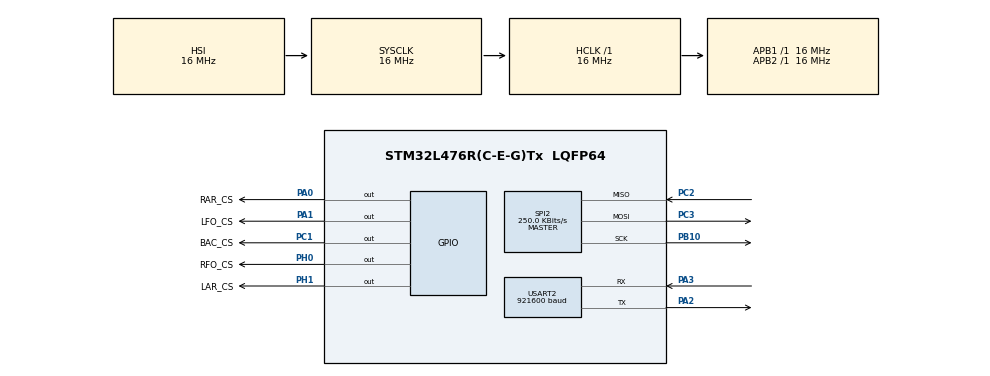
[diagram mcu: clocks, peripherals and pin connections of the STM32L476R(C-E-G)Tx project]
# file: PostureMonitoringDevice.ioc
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Dma.Request0=SPI2_RX
Dma.Request1=SPI2_TX
Dma.Request2=USART2_TX
Dma.SPI2_RX.0.Direction=DMA_PERIPH_TO_MEMORY
Dma.SPI2_RX.0.Instance=DMA1_Channel4
Dma.SPI2_RX.0.MemDataAlignment=DMA_MDATAALIGN_BYTE
Dma.SPI2_RX.0.MemInc=DMA_MINC_ENABLE
Dma.SPI2_RX.0.Mode=DMA_NORMAL
Dma.SPI2_RX.0.PeriphDataAlignment=DMA_PDATAALIGN_BYTE
Dma.SPI2_RX.0.PeriphInc=DMA_PINC_DISABLE
Dma.SPI2_RX.0.Priority=DMA_PRIORITY_LOW
Dma.SPI2_TX.1.Direction=DMA_MEMORY_TO_PERIPH
Dma.SPI2_TX.1.Instance=DMA1_Channel5
Dma.SPI2_TX.1.MemDataAlignment=DMA_MDATAALIGN_BYTE
Dma.SPI2_TX.1.MemInc=DMA_MINC_ENABLE
Dma.SPI2_TX.1.Mode=DMA_NORMAL
Dma.SPI2_TX.1.PeriphDataAlignment=DMA_PDATAALIGN_BYTE
Dma.SPI2_TX.1.PeriphInc=DMA_PINC_DISABLE
Dma.SPI2_TX.1.Priority=DMA_PRIORITY_LOW
Dma.USART2_TX.2.Direction=DMA_MEMORY_TO_PERIPH
Dma.USART2_TX.2.Instance=DMA1_Channel7
Dma.USART2_TX.2.MemDataAlignment=DMA_MDATAALIGN_BYTE
Dma.USART2_TX.2.MemInc=DMA_MINC_ENABLE
Dma.USART2_TX.2.Mode=DMA_NORMAL
Dma.USART2_TX.2.PeriphDataAlignment=DMA_PDATAALIGN_BYTE
Dma.USART2_TX.2.PeriphInc=DMA_PINC_DISABLE
Dma.USART2_TX.2.Priority=DMA_PRIORITY_LOW
Mcu.Family=STM32L4
Mcu.Name=STM32L476R(C-E-G)Tx
Mcu.Package=LQFP64
NVIC.DMA1_Channel4_IRQn=true\:2\:0\:true\:false\:true\:false\:true\:true
NVIC.DMA1_Channel5_IRQn=true\:2\:0\:true\:false\:true\:false\:true\:true
NVIC.DMA1_Channel7_IRQn=true\:2\:0\:true\:false\:true\:false\:true\:true
NVIC.PriorityGroup=NVIC_PRIORITYGROUP_4
NVIC.RTC_WKUP_IRQn=true\:0\:0\:false\:false\:true\:true\:true\:true
NVIC.USART2_IRQn=true\:2\:0\:true\:false\:true\:true\:true\:true
PA0.GPIO_Label=RAR_CS
PA0.GPIO_PuPd=GPIO_NOPULL
PA0.PinState=GPIO_PIN_SET
PA0.Signal=GPIO_Output
PA1.GPIO_Label=LFO_CS
PA1.GPIO_PuPd=GPIO_NOPULL
PA1.PinState=GPIO_PIN_SET
PA1.Signal=GPIO_Output
PA13\ (JTMS-SWDIO).GPIO_Label=TMS
PA13\ (JTMS-SWDIO).Mode=Serial_Wire
PA13\ (JTMS-SWDIO).Signal=SYS_JTMS-SWDIO
PA14\ (JTCK-SWCLK).GPIO_Label=TCK
PA14\ (JTCK-SWCLK).Mode=Serial_Wire
PA14\ (JTCK-SWCLK).Signal=SYS_JTCK-SWCLK
PA2.Mode=Asynchronous
PA2.Signal=USART2_TX
PA3.Mode=Asynchronous
PA3.Signal=USART2_RX
PB10.GPIO_PuPd=GPIO_NOPULL
PB10.GPIO_Speed=GPIO_SPEED_FREQ_LOW
PB10.Mode=Full_Duplex_Master
PB10.Signal=SPI2_SCK
PC1.GPIO_Label=BAC_CS
PC1.GPIO_PuPd=GPIO_NOPULL
PC1.PinState=GPIO_PIN_SET
PC1.Signal=GPIO_Output
PC14-OSC32_IN\ (PC14).Mode=LSE-External-Oscillator
PC14-OSC32_IN\ (PC14).Signal=RCC_OSC32_IN
PC15-OSC32_OUT\ (PC15).Mode=LSE-External-Oscillator
PC15-OSC32_OUT\ (PC15).Signal=RCC_OSC32_OUT
PC2.GPIO_PuPd=GPIO_PULLUP
PC2.GPIO_Speed=GPIO_SPEED_FREQ_LOW
PC2.Mode=Full_Duplex_Master
PC2.Signal=SPI2_MISO
PC3.GPIO_PuPd=GPIO_NOPULL
PC3.GPIO_Speed=GPIO_SPEED_FREQ_LOW
PC3.Mode=Full_Duplex_Master
PC3.Signal=SPI2_MOSI
PH0-OSC_IN\ (PH0).GPIO_Label=RFO_CS
PH0-OSC_IN\ (PH0).GPIO_PuPd=GPIO_NOPULL
PH0-OSC_IN\ (PH0).PinState=GPIO_PIN_SET
PH0-OSC_IN\ (PH0).Signal=GPIO_Output
PH1-OSC_OUT\ (PH1).GPIO_Label=LAR_CS
PH1-OSC_OUT\ (PH1).GPIO_PuPd=GPIO_NOPULL
PH1-OSC_OUT\ (PH1).PinState=GPIO_PIN_SET
PH1-OSC_OUT\ (PH1).Signal=GPIO_Output
ProjectManager.HeapSize=0x200
ProjectManager.StackSize=0x400
ProjectManager.TargetToolchain=STM32CubeIDE
RCC.ADCFreq_Value=64000000
RCC.AHBFreq_Value=16000000
RCC.APB1Freq_Value=16000000
RCC.APB1TimFreq_Value=16000000
RCC.APB2Freq_Value=16000000
RCC.APB2TimFreq_Value=16000000
RCC.CortexFreq_Value=16000000
RCC.HCLKFreq_Value=16000000
RCC.HSE_VALUE=8000000
RCC.HSI_VALUE=16000000
RCC.MSIClockRange=RCC_MSIRANGE_8
RCC.MSI_VALUE=16000000
RCC.PLLSourceVirtual=RCC_PLLSOURCE_HSI
RCC.RTCClockSelection=RCC_RTCCLKSOURCE_LSE
RCC.SYSCLKFreq_VALUE=16000000
RCC.SYSCLKSource=RCC_SYSCLKSOURCE_HSI
RCC.USBFreq_Value=64000000
RCC.VCOOutputFreq_Value=128000000
RTC.WakeUpCounter-WakeUp=42
SPI2.BaudRatePrescaler=SPI_BAUDRATEPRESCALER_64
SPI2.CLKPhase=SPI_PHASE_2EDGE
SPI2.CLKPolarity=SPI_POLARITY_HIGH
SPI2.CalculateBaudRate=250.0 KBits/s
SPI2.DataSize=SPI_DATASIZE_8BIT
SPI2.Direction=SPI_DIRECTION_2LINES
SPI2.Mode=SPI_MODE_MASTER
SPI2.VirtualType=VM_MASTER
USART2.BaudRate=921600
USART2.Mode=MODE_TX
USART2.VirtualMode-Asynchronous=VM_ASYNC
VP_RTC_VS_RTC_Activate.Mode=RTC_Enabled
VP_RTC_VS_RTC_WakeUp_intern.Mode=WakeUp
board=NUCLEO-L476RG

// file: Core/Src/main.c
/* USER CODE BEGIN Header */
/**
 ******************************************************************************
 * @file           : main.c
 * @brief          : Main program body
 ******************************************************************************
 * @attention
 *
 * Copyright (c) 2025 STMicroelectronics.
 * All rights reserved.
 *
 * This software is licensed under terms that can be found in the LICENSE file
 * in the root directory of this software component.
 * If no LICENSE file comes with this software, it is provided AS-IS.
 *
 ******************************************************************************
 */
/* USER CODE END Header */
#include "main.h"
#include "dma.h"
#include "gpio.h"
#include "rtc.h"
#include "spi.h"
#include "usart.h"

/* USER CODE BEGIN Includes */
#include "adxl345.h"
#include "cm53697pd.h"
#include "string.h"
/* USER CODE END Includes */

void SystemClock_Config(void);
/* USER CODE BEGIN PFP */
void HAL_UART_TxCpltCallback(UART_HandleTypeDef* huart);
void HAL_RTCEx_WakeUpTimerEventCallback(RTC_HandleTypeDef* hrtc);
/* USER CODE END PFP */

/* USER CODE BEGIN 0 */
ADXL345Interface* GetSTM32Interface(void);
static volatile uint8_t dmaStatus = 0;
static volatile uint8_t rtcStatus = 0;
void HAL_UART_TxCpltCallback(UART_HandleTypeDef* huart)
{
    if (huart == &huart2)
    {
        dmaStatus = 0;
    }
}
void HAL_RTCEx_WakeUpTimerEventCallback(RTC_HandleTypeDef* hrtc)
{
    rtcStatus = 1;
}
/* USER CODE END 0 */

int main(void)
{

    /* USER CODE BEGIN 1 */
    char buffer[100];

    for (int i = 0; i < 5; i++)
    {
        driverPtr[i].iface = GetSTM32Interface();
        driverPtr[i].device = devicesPtr[i];
        driverPtr[i].id = i;
    }

    /* USER CODE END 1 */

    /* MCU Configuration--------------------------------------------------------*/

    /* Reset of all peripherals, Initializes the Flash interface and the Systick.
     */
    HAL_Init();

    /* Configure the system clock */
    SystemClock_Config();

    /* Initialize all configured peripherals */
    MX_GPIO_Init();
    MX_DMA_Init();
    MX_SPI2_Init();
    MX_USART2_UART_Init();
    MX_RTC_Init();

    /* Infinite loop */
    /* USER CODE BEGIN WHILE */
    ADXL345_Status preConfiguration = ADXL345_OK;
    for (int i = 0; i < 5; i++)
    {
        preConfiguration = ADXL_SetMeasure(&driverPtr[i], ADXL345_RESET);

        if (preConfiguration == ADXL345_OK)
        {
            preConfiguration = ADXL_SetFullResolution(&driverPtr[i], ADXL345_SET);
        }

        if (preConfiguration == ADXL345_OK)
        {
            preConfiguration = ADXL_SetRange(&driverPtr[i], RANGE_16G);
        }

        if (preConfiguration == ADXL345_OK)
        {
            preConfiguration = ADXL_SetJustify(&driverPtr[i], ADXL345_RESET);
        }

        if (preConfiguration == ADXL345_OK)
        {
            preConfiguration = ADXL_SetMeasure(&driverPtr[i], ADXL345_SET);
        }

        if (preConfiguration != ADXL345_OK)
        {
            i--;
        }
    }
    (void)HAL_RTCEx_SetWakeUpTimer_IT(&hrtc, 42, RTC_WAKEUPCLOCK_RTCCLK_DIV16);
    while (1)
    {
        if (rtcStatus == 1)
        {
            rtcStatus = 0;

            if (dmaStatus == 0)
            {
                dmaStatus = 1;
                (void)ADXL_MultiReadDevice(&driverPtr[0]);
                (void)ADXL_MultiReadDevice(&driverPtr[1]);
                (void)ADXL_MultiReadDevice(&driverPtr[2]);
                (void)ADXL_MultiReadDevice(&driverPtr[3]);
                (void)ADXL_MultiReadDevice(&driverPtr[4]);
                (void)ADXL_RawData(devicesPtr, buffer, 100);
                (void)HAL_UART_Transmit_DMA(&huart2, (uint8_t*)buffer, strlen(buffer));
            }
            (void)HAL_PWR_EnterSLEEPMode(PWR_MAINREGULATOR_ON, PWR_SLEEPENTRY_WFI);
        }
        (void)HAL_PWR_EnterSLEEPMode(PWR_MAINREGULATOR_ON, PWR_SLEEPENTRY_WFI);
        /* USER CODE END WHILE */

    }
}

void SystemClock_Config(void)
{
    RCC_OscInitTypeDef RCC_OscInitStruct = {0};
    RCC_ClkInitTypeDef RCC_ClkInitStruct = {0};

    /** Configure the main internal regulator output voltage
     */
    if (HAL_PWREx_ControlVoltageScaling(PWR_REGULATOR_VOLTAGE_SCALE1) != HAL_OK)
    {
        Error_Handler();
    }

    /** Configure LSE Drive Capability
     */
    HAL_PWR_EnableBkUpAccess();
    __HAL_RCC_LSEDRIVE_CONFIG(RCC_LSEDRIVE_LOW);

    /** Initializes the RCC Oscillators according to the specified parameters
     * in the RCC_OscInitTypeDef structure.
     */
    RCC_OscInitStruct.OscillatorType = RCC_OSCILLATORTYPE_HSI | RCC_OSCILLATORTYPE_LSE;
    RCC_OscInitStruct.LSEState = RCC_LSE_ON;
    RCC_OscInitStruct.HSIState = RCC_HSI_ON;
    RCC_OscInitStruct.HSICalibrationValue = RCC_HSICALIBRATION_DEFAULT;
    RCC_OscInitStruct.PLL.PLLState = RCC_PLL_NONE;
    if (HAL_RCC_OscConfig(&RCC_OscInitStruct) != HAL_OK)
    {
        Error_Handler();
    }

    /** Initializes the CPU, AHB and APB buses clocks
     */
    RCC_ClkInitStruct.ClockType =
        RCC_CLOCKTYPE_HCLK | RCC_CLOCKTYPE_SYSCLK | RCC_CLOCKTYPE_PCLK1 | RCC_CLOCKTYPE_PCLK2;
    RCC_ClkInitStruct.SYSCLKSource = RCC_SYSCLKSOURCE_HSI;
    RCC_ClkInitStruct.AHBCLKDivider = RCC_SYSCLK_DIV1;
    RCC_ClkInitStruct.APB1CLKDivider = RCC_HCLK_DIV1;
    RCC_ClkInitStruct.APB2CLKDivider = RCC_HCLK_DIV1;

    if (HAL_RCC_ClockConfig(&RCC_ClkInitStruct, FLASH_LATENCY_0) != HAL_OK)
    {
        Error_Handler();
    }
}

void Error_Handler(void)
{
    __disable_irq();
    while (1)
    {
    }
}

#ifdef USE_FULL_ASSERT
/**
 * @brief  Reports the name of the source file and the source line number
 *         where the assert_param error has occurred.
 * @param  file: pointer to the source file name
 * @param  line: assert_param error line source number
 * @retval None
 */
void assert_failed(uint8_t* file, uint32_t line)
{
    /* USER CODE BEGIN 6 */
    /* User can add his own implementation to report the file name and line
  number, ex: printf("Wrong parameters value: file %s on line %d\r\n", file, line)
  */
    /* USER CODE END 6 */
}
#endif /* USE_FULL_ASSERT */
